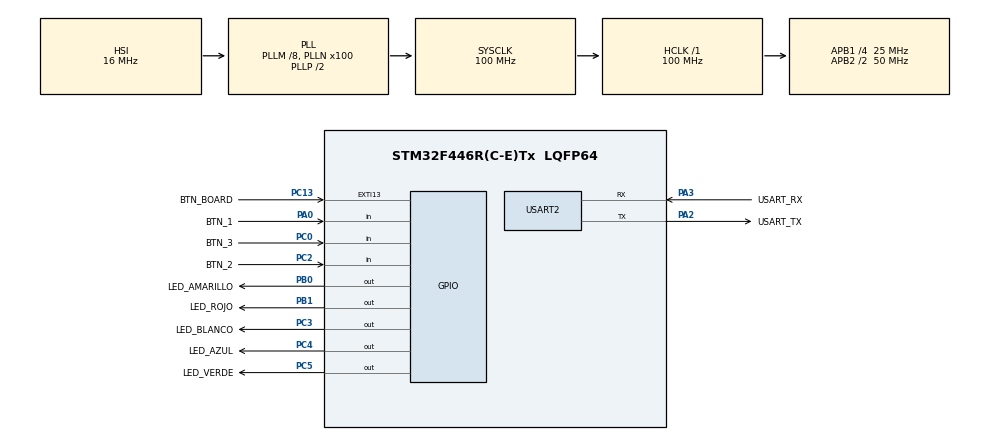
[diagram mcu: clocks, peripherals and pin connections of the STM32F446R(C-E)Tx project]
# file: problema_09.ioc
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FREERTOS.Tasks01=defaultTask,24,128,StartDefaultTask,Default,NULL,Dynamic,NULL,NULL
FREERTOS.configUSE_NEWLIB_REENTRANT=1
Mcu.Family=STM32F4
Mcu.Name=STM32F446R(C-E)Tx
Mcu.Package=LQFP64
NVIC.EXTI15_10_IRQn=true\:5\:0\:false\:false\:true\:true\:true\:true\:true
NVIC.PriorityGroup=NVIC_PRIORITYGROUP_4
NVIC.TIM1_UP_TIM10_IRQn=true\:15\:0\:false\:false\:true\:false\:false\:true\:true
NVIC.TimeBase=TIM1_UP_TIM10_IRQn
NVIC.TimeBaseIP=TIM1
PA0-WKUP.GPIO_Label=BTN_1
PA0-WKUP.Signal=GPIO_Input
PA13.GPIO_Label=TMS
PA13.Mode=Serial_Wire
PA13.Signal=SYS_JTMS-SWDIO
PA14.GPIO_Label=TCK
PA14.Mode=Serial_Wire
PA14.Signal=SYS_JTCK-SWCLK
PA2.GPIO_Label=USART_TX
PA2.Mode=Asynchronous
PA2.Signal=USART2_TX
PA3.GPIO_Label=USART_RX
PA3.Mode=Asynchronous
PA3.Signal=USART2_RX
PB0.GPIO_Label=LED_AMARILLO
PB0.Signal=GPIO_Output
PB1.GPIO_Label=LED_ROJO
PB1.Signal=GPIO_Output
PC0.GPIO_Label=BTN_3
PC0.Signal=GPIO_Input
PC13.GPIO_Label=BTN_BOARD
PC13.GPIO_ModeDefaultEXTI=GPIO_MODE_IT_RISING_FALLING
PC13.GPIO_PuPd=GPIO_PULLDOWN
PC13.Signal=GPXTI13
PC14-OSC32_IN.Mode=LSE-External-Oscillator
PC14-OSC32_IN.Signal=RCC_OSC32_IN
PC15-OSC32_OUT.Mode=LSE-External-Oscillator
PC15-OSC32_OUT.Signal=RCC_OSC32_OUT
PC2.GPIO_Label=BTN_2
PC2.GPIO_PuPd=GPIO_NOPULL
PC2.Signal=GPIO_Input
PC3.GPIO_Label=LED_BLANCO
PC3.Signal=GPIO_Output
PC4.GPIO_Label=LED_AZUL
PC4.Signal=GPIO_Output
PC5.GPIO_Label=LED_VERDE
PC5.Signal=GPIO_Output
PH0-OSC_IN.Mode=HSE-External-Oscillator
PH0-OSC_IN.Signal=RCC_OSC_IN
PH1-OSC_OUT.Mode=HSE-External-Oscillator
PH1-OSC_OUT.Signal=RCC_OSC_OUT
ProjectManager.HeapSize=0x200
ProjectManager.StackSize=0x400
ProjectManager.TargetToolchain=STM32CubeIDE
RCC.48MHZClocksFreq_Value=84000000
RCC.AHBFreq_Value=100000000
RCC.APB1CLKDivider=RCC_HCLK_DIV4
RCC.APB1Freq_Value=25000000
RCC.APB1TimFreq_Value=50000000
RCC.APB2CLKDivider=RCC_HCLK_DIV2
RCC.APB2Freq_Value=50000000
RCC.APB2TimFreq_Value=100000000
RCC.CortexFreq_Value=100000000
RCC.FLatency-AdvancedSettings=FLASH_LATENCY_3
RCC.HCLKFreq_Value=100000000
RCC.HSE_VALUE=8000000
RCC.HSI_VALUE=16000000
RCC.PLLM=8
RCC.PLLN=100
RCC.SYSCLKFreq_VALUE=100000000
RCC.SYSCLKSource=RCC_SYSCLKSOURCE_PLLCLK
RCC.USBFreq_Value=100000000
RCC.VCOOutputFreq_Value=200000000
USART2.VirtualMode=VM_ASYNC
VP_FREERTOS_VS_CMSIS_V2.Mode=CMSIS_V2
VP_SYS_VS_tim1.Mode=TIM1
board=NUCLEO-F446RE

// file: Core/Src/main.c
/* USER CODE BEGIN Header */
/**
  ******************************************************************************
  * @file           : main.c
  * @brief          : Main program body
  ******************************************************************************
  * @attention
  *
  * Copyright (c) 2026 STMicroelectronics.
  * All rights reserved.
  *
  * This software is licensed under terms that can be found in the LICENSE file
  * in the root directory of this software component.
  * If no LICENSE file comes with this software, it is provided AS-IS.
  *
  ******************************************************************************
  */
/* USER CODE END Header */
#include "main.h"
#include "cmsis_os.h"

/* USER CODE BEGIN Includes */
#include "interfaz_tp.h"
#include "task.h"
#include "semphr.h"
#include "queue.h"
#include <string.h>
/* USER CODE END Includes */

/* USER CODE BEGIN PD */
#define DEBOUNCE_TICKS	(10)
#define DEFAULT_BLINK	(500)
/* USER CODE END PD */

UART_HandleTypeDef huart2;

/* Definitions for defaultTask */
osThreadId_t defaultTaskHandle;
const osThreadAttr_t defaultTask_attributes = {
  .name = "defaultTask",
  .stack_size = 128 * 4,
  .priority = (osPriority_t) osPriorityNormal,
};
/* USER CODE BEGIN PV */
TaskHandle_t tarea;
QueueHandle_t cola;
SemaphoreHandle_t semaforo;

/* USER CODE END PV */

void SystemClock_Config(void);
static void MX_GPIO_Init(void);
static void MX_USART2_UART_Init(void);
void StartDefaultTask(void *argument);

/* USER CODE BEGIN 0 */
void HAL_GPIO_EXTI_Callback(uint16_t GPIO_Pin){
	BaseType_t HigherPriorityTaskWoken;
	static TickType_t anterior = 0;
	if(GPIO_Pin == BTN_BOARD_Pin){
		anterior = xTaskGetTickCountFromISR() - anterior;
		if(anterior > DEBOUNCE_TICKS){
			xSemaphoreGiveFromISR(semaforo,&HigherPriorityTaskWoken);
			portEND_SWITCHING_ISR(HigherPriorityTaskWoken);
		}
	}
}

void tarea_led(void *p){
	uint32_t demora = DEFAULT_BLINK;
	uint32_t val;
	while(1){
		if(xQueueReceive(cola, &val, 0)==pdPASS) {
			demora = val;
		}
		HAL_GPIO_TogglePin(LED_ROJO_GPIO_Port, LED_ROJO_Pin);
		vTaskDelay(pdMS_TO_TICKS(demora));
	}
}

void tarea_boton(void *p){
	TickType_t inicio;
	TickType_t diferencia;

	while(1) {
			xSemaphoreTake(semaforo,portMAX_DELAY);
			if(HAL_GPIO_ReadPin(BTN_BOARD_GPIO_Port, BTN_BOARD_Pin)== GPIO_PIN_RESET){
				inicio = xTaskGetTickCount();
			}
			if(HAL_GPIO_ReadPin(BTN_BOARD_GPIO_Port, BTN_BOARD_Pin)== GPIO_PIN_SET){
				diferencia = xTaskGetTickCount() - inicio;
				diferencia = pdMS_TO_TICKS(diferencia);
				if(diferencia>1000) {
					diferencia = 1000;
				}
				if(diferencia>=50){
					xQueueSend(cola,&diferencia,portMAX_DELAY);
				}
			}
	}
}

/* USER CODE END 0 */

int main(void)
{

  /* MCU Configuration--------------------------------------------------------*/

  /* Reset of all peripherals, Initializes the Flash interface and the Systick. */
  HAL_Init();

  /* Configure the system clock */
  SystemClock_Config();

  /* Initialize all configured peripherals */
  MX_GPIO_Init();
  MX_USART2_UART_Init();

  /* Init scheduler */
  osKernelInitialize();

  /* USER CODE BEGIN RTOS_SEMAPHORES */
  /* add semaphores, ... */
  semaforo = xSemaphoreCreateBinary();
  /* USER CODE END RTOS_SEMAPHORES */

  /* USER CODE BEGIN RTOS_QUEUES */
  /* add queues, ... */
  cola = xQueueCreate(4,sizeof(TickType_t));
  /* USER CODE END RTOS_QUEUES */

  /* Create the thread(s) */
  /* creation of defaultTask */
  defaultTaskHandle = osThreadNew(StartDefaultTask, NULL, &defaultTask_attributes);

  /* USER CODE BEGIN RTOS_THREADS */
  /* add threads, ... */
  xTaskCreate(tarea_boton,
			  "btn",
			  configMINIMAL_STACK_SIZE * 2,
			  NULL,
			  tskIDLE_PRIORITY+1,
			  NULL);

  xTaskCreate(tarea_led,
			  "led",
			  configMINIMAL_STACK_SIZE * 2,
			  NULL,
			  tskIDLE_PRIORITY+1,
			  &tarea);

  /* USER CODE END RTOS_THREADS */

  /* Start scheduler */
  osKernelStart();

  /* We should never get here as control is now taken by the scheduler */

  /* Infinite loop */
  while (1)
  {

  }
}

void SystemClock_Config(void)
{
  RCC_OscInitTypeDef RCC_OscInitStruct = {0};
  RCC_ClkInitTypeDef RCC_ClkInitStruct = {0};

  /** Configure the main internal regulator output voltage
  */
  __HAL_RCC_PWR_CLK_ENABLE();
  __HAL_PWR_VOLTAGESCALING_CONFIG(PWR_REGULATOR_VOLTAGE_SCALE3);

  /** Initializes the RCC Oscillators according to the specified parameters
  * in the RCC_OscInitTypeDef structure.
  */
  RCC_OscInitStruct.OscillatorType = RCC_OSCILLATORTYPE_HSI;
  RCC_OscInitStruct.HSIState = RCC_HSI_ON;
  RCC_OscInitStruct.HSICalibrationValue = RCC_HSICALIBRATION_DEFAULT;
  RCC_OscInitStruct.PLL.PLLState = RCC_PLL_ON;
  RCC_OscInitStruct.PLL.PLLSource = RCC_PLLSOURCE_HSI;
  RCC_OscInitStruct.PLL.PLLM = 8;
  RCC_OscInitStruct.PLL.PLLN = 100;
  RCC_OscInitStruct.PLL.PLLP = RCC_PLLP_DIV2;
  RCC_OscInitStruct.PLL.PLLQ = 2;
  RCC_OscInitStruct.PLL.PLLR = 2;
  if (HAL_RCC_OscConfig(&RCC_OscInitStruct) != HAL_OK)
  {
    Error_Handler();
  }

  /** Initializes the CPU, AHB and APB buses clocks
  */
  RCC_ClkInitStruct.ClockType = RCC_CLOCKTYPE_HCLK|RCC_CLOCKTYPE_SYSCLK
                              |RCC_CLOCKTYPE_PCLK1|RCC_CLOCKTYPE_PCLK2;
  RCC_ClkInitStruct.SYSCLKSource = RCC_SYSCLKSOURCE_PLLCLK;
  RCC_ClkInitStruct.AHBCLKDivider = RCC_SYSCLK_DIV1;
  RCC_ClkInitStruct.APB1CLKDivider = RCC_HCLK_DIV4;
  RCC_ClkInitStruct.APB2CLKDivider = RCC_HCLK_DIV2;

  if (HAL_RCC_ClockConfig(&RCC_ClkInitStruct, FLASH_LATENCY_3) != HAL_OK)
  {
    Error_Handler();
  }
}

static void MX_USART2_UART_Init(void)
{

  huart2.Instance = USART2;
  huart2.Init.BaudRate = 115200;
  huart2.Init.WordLength = UART_WORDLENGTH_8B;
  huart2.Init.StopBits = UART_STOPBITS_1;
  huart2.Init.Parity = UART_PARITY_NONE;
  huart2.Init.Mode = UART_MODE_TX_RX;
  huart2.Init.HwFlowCtl = UART_HWCONTROL_NONE;
  huart2.Init.OverSampling = UART_OVERSAMPLING_16;
  if (HAL_UART_Init(&huart2) != HAL_OK)
  {
    Error_Handler();
  }

}

static void MX_GPIO_Init(void)
{
  GPIO_InitTypeDef GPIO_InitStruct = {0};

  /* GPIO Ports Clock Enable */
  __HAL_RCC_GPIOC_CLK_ENABLE();
  __HAL_RCC_GPIOH_CLK_ENABLE();
  __HAL_RCC_GPIOA_CLK_ENABLE();
  __HAL_RCC_GPIOB_CLK_ENABLE();

  /*Configure GPIO pin Output Level */
  HAL_GPIO_WritePin(GPIOC, LED_BLANCO_Pin|LED_AZUL_Pin|LED_VERDE_Pin, GPIO_PIN_RESET);

  /*Configure GPIO pin Output Level */
  HAL_GPIO_WritePin(GPIOB, LED_AMARILLO_Pin|LED_ROJO_Pin, GPIO_PIN_RESET);

  /*Configure GPIO pin : BTN_BOARD_Pin */
  GPIO_InitStruct.Pin = BTN_BOARD_Pin;
  GPIO_InitStruct.Mode = GPIO_MODE_IT_RISING_FALLING;
  GPIO_InitStruct.Pull = GPIO_PULLDOWN;
  HAL_GPIO_Init(BTN_BOARD_GPIO_Port, &GPIO_InitStruct);

  /*Configure GPIO pins : BTN_3_Pin BTN_2_Pin */
  GPIO_InitStruct.Pin = BTN_3_Pin|BTN_2_Pin;
  GPIO_InitStruct.Mode = GPIO_MODE_INPUT;
  GPIO_InitStruct.Pull = GPIO_NOPULL;
  HAL_GPIO_Init(GPIOC, &GPIO_InitStruct);

  /*Configure GPIO pins : LED_BLANCO_Pin LED_AZUL_Pin LED_VERDE_Pin */
  GPIO_InitStruct.Pin = LED_BLANCO_Pin|LED_AZUL_Pin|LED_VERDE_Pin;
  GPIO_InitStruct.Mode = GPIO_MODE_OUTPUT_PP;
  GPIO_InitStruct.Pull = GPIO_NOPULL;
  GPIO_InitStruct.Speed = GPIO_SPEED_FREQ_LOW;
  HAL_GPIO_Init(GPIOC, &GPIO_InitStruct);

  /*Configure GPIO pin : BTN_1_Pin */
  GPIO_InitStruct.Pin = BTN_1_Pin;
  GPIO_InitStruct.Mode = GPIO_MODE_INPUT;
  GPIO_InitStruct.Pull = GPIO_NOPULL;
  HAL_GPIO_Init(BTN_1_GPIO_Port, &GPIO_InitStruct);

  /*Configure GPIO pins : LED_AMARILLO_Pin LED_ROJO_Pin */
  GPIO_InitStruct.Pin = LED_AMARILLO_Pin|LED_ROJO_Pin;
  GPIO_InitStruct.Mode = GPIO_MODE_OUTPUT_PP;
  GPIO_InitStruct.Pull = GPIO_NOPULL;
  GPIO_InitStruct.Speed = GPIO_SPEED_FREQ_LOW;
  HAL_GPIO_Init(GPIOB, &GPIO_InitStruct);

  /* EXTI interrupt init*/
  HAL_NVIC_SetPriority(EXTI15_10_IRQn, 5, 0);
  HAL_NVIC_EnableIRQ(EXTI15_10_IRQn);

}

void StartDefaultTask(void *argument)
{
  /* USER CODE BEGIN 5 */
  /* Infinite loop */
  for(;;)
  {
    osDelay(250);
  }
  /* USER CODE END 5 */
}

void HAL_TIM_PeriodElapsedCallback(TIM_HandleTypeDef *htim)
{
  if (htim->Instance == TIM1)
  {
    HAL_IncTick();
  }
}

void Error_Handler(void)
{
  __disable_irq();
  while (1)
  {
  }
}
